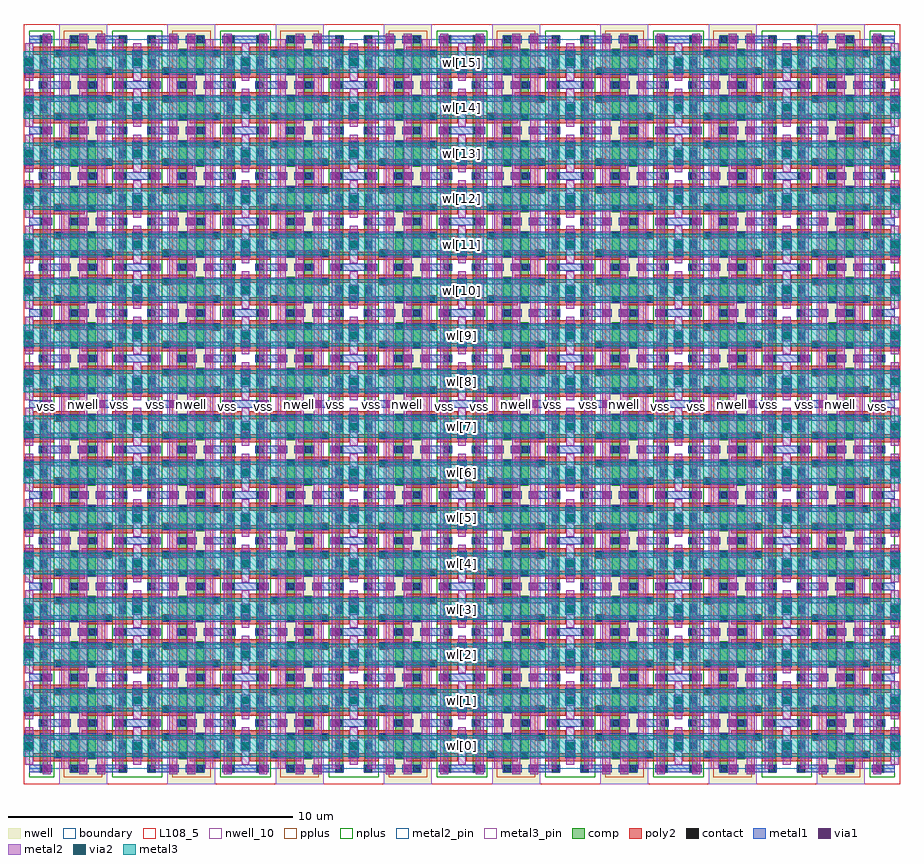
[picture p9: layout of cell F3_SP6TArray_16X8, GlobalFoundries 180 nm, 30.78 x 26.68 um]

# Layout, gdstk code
from math import pi, radians
import gdstk
lib = gdstk.Library(unit=1e-6, precision=1e-09)
def R(c, l, rs):  # rectangles x0, y0, x1, y1
    for r in rs: c.add(gdstk.rectangle(r[:2], r[2:], *l))
def A(c, l, x, y, w, h, nx, ny, dx, dy):  # array of equal rectangles
    R(c, l, [(x+i*dx, y+j*dy, x+i*dx+w, y+j*dy+h) for i in range(nx) for j in range(ny)])
def P(c, l, *ps):  # polygons
    for p in ps: c.add(gdstk.Polygon(p, *l))
boundary = (0, 0)
nwell = (21, 0)
nwell_10 = (21, 10)
comp = (22, 0)
poly2 = (30, 0)
pplus = (31, 0)
nplus = (32, 0)
contact = (33, 0)
metal1 = (34, 0)
via1 = (35, 0)
metal2 = (36, 0)
metal2_pin = (36, 10)
via2 = (38, 0)
metal3 = (42, 0)
metal3_pin = (42, 10)
L108_5 = (108, 5)

f3_sp6tcell = lib.new_cell('F3_SP6TCell')
R(f3_sp6tcell, boundary, [(0,0,3.8,1.6)])
R(f3_sp6tcell, nwell, [(1.055,-0.54,2.745,2.14)])
R(f3_sp6tcell, nwell_10, [(1.055,-0.54,2.745,2.14)])
R(f3_sp6tcell, comp, [(0.375,-0.14,0.655,1.74), (2.065,-0.14,2.345,0.84), (3.145,-0.14,3.425,1.74), (1.455,0.335,1.735,0.615), (2.065,0.54,2.345,0.985), (1.455,0.615,1.735,1.06), (1.455,0.76,1.735,1.74), (2.065,0.985,2.345,1.265)])
P(f3_sp6tcell, poly2, [(0.91,0.975),(0.91,1.06),(0.155,1.06),(0.155,1.34),(1.955,1.34),(1.955,1.06),(1.21,1.06),(1.21,0.975)],
  [(3.65,0.975),(3.65,1.06),(2.925,1.06),(2.925,1.34),(3.95,1.34),(3.95,0.975)],
  [(-0.15,0.26),(-0.15,0.625),(0.15,0.625),(0.15,0.54),(0.875,0.54),(0.875,0.26)],
  [(1.845,0.26),(1.845,0.54),(2.59,0.54),(2.59,0.625),(2.89,0.625),(2.89,0.54),(3.645,0.54),(3.645,0.26)])
R(f3_sp6tcell, pplus, [(1.225,-0.3,2.575,1.9)])
R(f3_sp6tcell, nplus, [(0,-0.3,0.885,1.9), (2.915,-0.3,3.8,1.9)])
A(f3_sp6tcell, contact, 0.405, -0.11, 0.22, 0.22, 1, 3, 0, 0.8)
A(f3_sp6tcell, contact, 3.175, -0.11, 0.22, 0.22, 1, 3, 0, 0.8)
R(f3_sp6tcell, contact, [(2.095,-0.11,2.315,0.11), (-0.11,0.365,0.11,0.585), (1.485,0.365,1.705,0.585), (2.63,0.365,2.85,0.585), (0.95,1.015,1.17,1.235), (2.095,1.015,2.315,1.235), (3.69,1.015,3.91,1.235), (1.485,1.49,1.705,1.71)])
R(f3_sp6tcell, metal1, [(0.345,-0.13,1.46,0.13), (1.71,-0.13,2.375,0.13), (2.98,-0.13,3.8,0.13), (-0.17,0.36,0.17,0.99), (3.63,0.61,3.97,1.24), (0,1.47,0.82,1.73), (1.425,1.47,2.09,1.73), (2.34,1.47,3.455,1.73)])
P(f3_sp6tcell, metal1, [(3.17,0.63),(3.17,1.01),(0.89,1.01),(0.89,1.24),(3.4,1.24),(3.4,0.63)],
  [(0.4,0.36),(0.4,0.97),(0.63,0.97),(0.63,0.59),(2.91,0.59),(2.91,0.36)])
R(f3_sp6tcell, via1, [(1.14,-0.13,1.4,0.13), (1.77,-0.13,2.03,0.13), (3.04,-0.13,3.3,0.13), (-0.13,0.67,0.13,0.93), (3.67,0.67,3.93,0.93), (0.5,1.47,0.76,1.73), (1.77,1.47,2.03,1.73), (2.4,1.47,2.66,1.73)])
R(f3_sp6tcell, metal2, [(1.13,-0.19,1.41,1.6), (1.76,-0.19,2.04,1.79), (3.03,-0.19,3.31,1.6), (0.49,0,0.77,1.79), (2.39,0,2.67,1.79), (-0.14,0.14,0.14,1.46), (3.66,0.14,3.94,1.46)])
R(f3_sp6tcell, metal2_pin, [(1.13,-0.19,1.41,1.6), (1.76,-0.19,2.04,1.79), (3.03,-0.19,3.31,1.6), (0.49,0,0.77,1.79), (2.39,0,2.67,1.79)])
R(f3_sp6tcell, via2, [(-0.13,0.67,0.13,0.93), (3.67,0.67,3.93,0.93)])
R(f3_sp6tcell, metal3, [(-0.19,0.42,3.99,1.18)])
R(f3_sp6tcell, metal3_pin, [(-0.19,0.42,3.99,1.18)])
R(f3_sp6tcell, L108_5, [(-0.19,-0.54,3.99,2.14)])
f3_sp6tcell.add(gdstk.Label('nwell', (1.9,0.8), layer=21, texttype=10))
f3_sp6tcell.add(gdstk.Label('wl', (1.9,0.8), layer=42, texttype=10))
f3_sp6tcell.add(gdstk.Label('bl_n', (2.53,0.895), layer=36, texttype=10))
f3_sp6tcell.add(gdstk.Label('vdd', (1.9,0.8), layer=36, texttype=10))
f3_sp6tcell.add(gdstk.Label('vss', (3.17,0.705), layer=36, texttype=10))
f3_sp6tcell.add(gdstk.Label('vss', (0.63,0.895), layer=36, texttype=10))
f3_sp6tcell.add(gdstk.Label('bl', (1.27,0.705), layer=36, texttype=10))

f3_sp6tarray_2x1 = lib.new_cell('F3_SP6TArray_2X1')
R(f3_sp6tarray_2x1, boundary, [(0,0,3.8,3.2)])
R(f3_sp6tarray_2x1, nwell, [(1.055,-0.54,2.745,3.74)])
R(f3_sp6tarray_2x1, nwell_10, [(1.055,-0.54,2.745,3.74)])
R(f3_sp6tarray_2x1, metal2, [(0.49,-0.19,0.77,3.2), (1.76,-0.19,2.04,3.2), (2.39,-0.19,2.67,3.39), (1.13,0,1.41,3.2), (3.03,0,3.31,3.2)])
R(f3_sp6tarray_2x1, metal2_pin, [(0.49,-0.19,0.77,3.2), (1.76,-0.19,2.04,3.2), (2.39,-0.19,2.67,3.39), (1.13,0,1.41,3.2), (3.03,0,3.31,3.2)])
R(f3_sp6tarray_2x1, metal3, [(-0.19,0.42,3.99,1.18), (-0.19,2.02,3.99,2.78)])
R(f3_sp6tarray_2x1, metal3_pin, [(-0.19,0.42,3.99,1.18), (-0.19,2.02,3.99,2.78)])
f3_sp6tarray_2x1.add(gdstk.Reference(f3_sp6tcell, (0,1.6)))
f3_sp6tarray_2x1.add(gdstk.Reference(f3_sp6tcell, (0,1.6), x_reflection=True))
f3_sp6tarray_2x1.add(gdstk.Label('nwell', (1.9,1.6), layer=21, texttype=10))
f3_sp6tarray_2x1.add(gdstk.Label('wl[1]', (1.9,2.4), layer=42, texttype=10))
f3_sp6tarray_2x1.add(gdstk.Label('wl[0]', (1.9,0.8), layer=42, texttype=10))
f3_sp6tarray_2x1.add(gdstk.Label('bl_n[0]', (2.53,1.6), layer=36, texttype=10))
f3_sp6tarray_2x1.add(gdstk.Label('bl[0]', (1.27,1.6), layer=36, texttype=10))
f3_sp6tarray_2x1.add(gdstk.Label('vdd', (1.9,1.505), layer=36, texttype=10))
f3_sp6tarray_2x1.add(gdstk.Label('vss', (0.63,1.505), layer=36, texttype=10))
f3_sp6tarray_2x1.add(gdstk.Label('vss', (3.17,1.6), layer=36, texttype=10))

f3_sp6tarray_2x2 = lib.new_cell('F3_SP6TArray_2X2')
R(f3_sp6tarray_2x2, boundary, [(0,0,7.6,3.2)])
R(f3_sp6tarray_2x2, nwell, [(1.055,-0.54,2.745,3.74), (4.855,-0.54,6.545,3.74)])
R(f3_sp6tarray_2x2, nwell_10, [(1.055,-0.54,2.745,3.74), (4.855,-0.54,6.545,3.74)])
R(f3_sp6tarray_2x2, metal2, [(0.49,-0.19,0.77,3.2), (1.76,-0.19,2.04,3.2), (2.39,-0.19,2.67,3.39), (4.93,-0.19,5.21,3.39), (5.56,-0.19,5.84,3.2), (6.83,-0.19,7.11,3.2), (1.13,0,1.41,3.2), (3.03,0,3.31,3.2), (4.29,0,4.57,3.2), (6.19,0,6.47,3.2)])
R(f3_sp6tarray_2x2, metal2_pin, [(0.49,-0.19,0.77,3.2), (1.76,-0.19,2.04,3.2), (2.39,-0.19,2.67,3.39), (4.93,-0.19,5.21,3.39), (5.56,-0.19,5.84,3.2), (6.83,-0.19,7.11,3.2), (1.13,0,1.41,3.2), (3.03,0,3.31,3.2), (4.29,0,4.57,3.2), (6.19,0,6.47,3.2)])
R(f3_sp6tarray_2x2, metal3, [(-0.19,0.42,7.79,1.18), (-0.19,2.02,7.79,2.78)])
R(f3_sp6tarray_2x2, metal3_pin, [(-0.19,0.42,7.79,1.18), (-0.19,2.02,7.79,2.78)])
f3_sp6tarray_2x2.add(gdstk.Reference(f3_sp6tarray_2x1, (7.6,0), rotation=pi, x_reflection=True))
f3_sp6tarray_2x2.add(gdstk.Reference(f3_sp6tarray_2x1, (0,0)))
f3_sp6tarray_2x2.add(gdstk.Label('nwell', (1.9,1.6), layer=21, texttype=10))
f3_sp6tarray_2x2.add(gdstk.Label('nwell', (5.7,1.6), layer=21, texttype=10))
f3_sp6tarray_2x2.add(gdstk.Label('wl[1]', (3.8,2.4), layer=42, texttype=10))
f3_sp6tarray_2x2.add(gdstk.Label('wl[0]', (3.8,0.8), layer=42, texttype=10))
f3_sp6tarray_2x2.add(gdstk.Label('bl_n[1]', (5.07,1.6), layer=36, texttype=10))
f3_sp6tarray_2x2.add(gdstk.Label('bl[1]', (6.33,1.6), layer=36, texttype=10))
f3_sp6tarray_2x2.add(gdstk.Label('bl_n[0]', (2.53,1.6), layer=36, texttype=10))
f3_sp6tarray_2x2.add(gdstk.Label('bl[0]', (1.27,1.6), layer=36, texttype=10))
f3_sp6tarray_2x2.add(gdstk.Label('vdd', (1.9,1.505), layer=36, texttype=10))
f3_sp6tarray_2x2.add(gdstk.Label('vdd', (5.7,1.505), layer=36, texttype=10))
f3_sp6tarray_2x2.add(gdstk.Label('vss', (0.63,1.505), layer=36, texttype=10))
f3_sp6tarray_2x2.add(gdstk.Label('vss', (6.97,1.505), layer=36, texttype=10))
f3_sp6tarray_2x2.add(gdstk.Label('vss', (3.17,1.6), layer=36, texttype=10))
f3_sp6tarray_2x2.add(gdstk.Label('vss', (4.43,1.6), layer=36, texttype=10))

f3_sp6tarray_4x2 = lib.new_cell('F3_SP6TArray_4X2')
R(f3_sp6tarray_4x2, boundary, [(0,0,7.6,6.4)])
R(f3_sp6tarray_4x2, nwell, [(1.055,-0.54,2.745,6.94), (4.855,-0.54,6.545,6.94)])
R(f3_sp6tarray_4x2, nwell_10, [(1.055,-0.54,2.745,6.94), (4.855,-0.54,6.545,6.94)])
R(f3_sp6tarray_4x2, metal2, [(0.49,-0.19,0.77,6.4), (1.76,-0.19,2.04,6.4), (2.39,-0.19,2.67,6.59), (4.93,-0.19,5.21,6.59), (5.56,-0.19,5.84,6.4), (6.83,-0.19,7.11,6.4), (1.13,0,1.41,6.4), (3.03,0,3.31,6.4), (4.29,0,4.57,6.4), (6.19,0,6.47,6.4)])
R(f3_sp6tarray_4x2, metal2_pin, [(0.49,-0.19,0.77,6.4), (1.76,-0.19,2.04,6.4), (2.39,-0.19,2.67,6.59), (4.93,-0.19,5.21,6.59), (5.56,-0.19,5.84,6.4), (6.83,-0.19,7.11,6.4), (1.13,0,1.41,6.4), (3.03,0,3.31,6.4), (4.29,0,4.57,6.4), (6.19,0,6.47,6.4)])
A(f3_sp6tarray_4x2, metal3, -0.19, 0.42, 7.98, 0.76, 1, 4, 0, 1.6)
A(f3_sp6tarray_4x2, metal3_pin, -0.19, 0.42, 7.98, 0.76, 1, 4, 0, 1.6)
f3_sp6tarray_4x2.add(gdstk.Reference(f3_sp6tarray_2x2, (0,0)))
f3_sp6tarray_4x2.add(gdstk.Reference(f3_sp6tarray_2x2, (0,3.2)))
f3_sp6tarray_4x2.add(gdstk.Label('nwell', (1.9,3.2), layer=21, texttype=10))
f3_sp6tarray_4x2.add(gdstk.Label('nwell', (5.7,3.2), layer=21, texttype=10))
f3_sp6tarray_4x2.add(gdstk.Label('wl[3]', (3.8,5.6), layer=42, texttype=10))
f3_sp6tarray_4x2.add(gdstk.Label('wl[2]', (3.8,4), layer=42, texttype=10))
f3_sp6tarray_4x2.add(gdstk.Label('wl[1]', (3.8,2.4), layer=42, texttype=10))
f3_sp6tarray_4x2.add(gdstk.Label('wl[0]', (3.8,0.8), layer=42, texttype=10))
f3_sp6tarray_4x2.add(gdstk.Label('bl_n[1]', (5.07,3.2), layer=36, texttype=10))
f3_sp6tarray_4x2.add(gdstk.Label('bl[1]', (6.33,3.2), layer=36, texttype=10))
f3_sp6tarray_4x2.add(gdstk.Label('bl_n[0]', (2.53,3.2), layer=36, texttype=10))
f3_sp6tarray_4x2.add(gdstk.Label('bl[0]', (1.27,3.2), layer=36, texttype=10))
f3_sp6tarray_4x2.add(gdstk.Label('vdd', (1.9,3.105), layer=36, texttype=10))
f3_sp6tarray_4x2.add(gdstk.Label('vdd', (5.7,3.105), layer=36, texttype=10))
f3_sp6tarray_4x2.add(gdstk.Label('vss', (0.63,3.105), layer=36, texttype=10))
f3_sp6tarray_4x2.add(gdstk.Label('vss', (6.97,3.105), layer=36, texttype=10))
f3_sp6tarray_4x2.add(gdstk.Label('vss', (3.17,3.2), layer=36, texttype=10))
f3_sp6tarray_4x2.add(gdstk.Label('vss', (4.43,3.2), layer=36, texttype=10))

f3_sp6tarray_4x4 = lib.new_cell('F3_SP6TArray_4X4')
R(f3_sp6tarray_4x4, boundary, [(0,0,15.2,6.4)])
A(f3_sp6tarray_4x4, nwell, 1.055, -0.54, 1.69, 7.48, 4, 1, 3.8, 0)
A(f3_sp6tarray_4x4, nwell_10, 1.055, -0.54, 1.69, 7.48, 4, 1, 3.8, 0)
R(f3_sp6tarray_4x4, metal2, [(0.49,-0.19,0.77,6.4), (1.76,-0.19,2.04,6.4), (2.39,-0.19,2.67,6.59), (4.93,-0.19,5.21,6.59), (5.56,-0.19,5.84,6.4), (6.83,-0.19,7.11,6.4), (8.09,-0.19,8.37,6.4), (9.36,-0.19,9.64,6.4), (9.99,-0.19,10.27,6.59), (12.53,-0.19,12.81,6.59), (13.16,-0.19,13.44,6.4), (14.43,-0.19,14.71,6.4), (1.13,0,1.41,6.4), (3.03,0,3.31,6.4), (4.29,0,4.57,6.4), (6.19,0,6.47,6.4), (8.73,0,9.01,6.4), (10.63,0,10.91,6.4), (11.89,0,12.17,6.4), (13.79,0,14.07,6.4)])
R(f3_sp6tarray_4x4, metal2_pin, [(0.49,-0.19,0.77,6.4), (1.76,-0.19,2.04,6.4), (2.39,-0.19,2.67,6.59), (4.93,-0.19,5.21,6.59), (5.56,-0.19,5.84,6.4), (6.83,-0.19,7.11,6.4), (8.09,-0.19,8.37,6.4), (9.36,-0.19,9.64,6.4), (9.99,-0.19,10.27,6.59), (12.53,-0.19,12.81,6.59), (13.16,-0.19,13.44,6.4), (14.43,-0.19,14.71,6.4), (1.13,0,1.41,6.4), (3.03,0,3.31,6.4), (4.29,0,4.57,6.4), (6.19,0,6.47,6.4), (8.73,0,9.01,6.4), (10.63,0,10.91,6.4), (11.89,0,12.17,6.4), (13.79,0,14.07,6.4)])
A(f3_sp6tarray_4x4, metal3, -0.19, 0.42, 15.58, 0.76, 1, 4, 0, 1.6)
A(f3_sp6tarray_4x4, metal3_pin, -0.19, 0.42, 15.58, 0.76, 1, 4, 0, 1.6)
f3_sp6tarray_4x4.add(gdstk.Reference(f3_sp6tarray_4x2, (0,0)))
f3_sp6tarray_4x4.add(gdstk.Reference(f3_sp6tarray_4x2, (7.6,0)))
f3_sp6tarray_4x4.add(gdstk.Label('nwell', (1.9,3.2), layer=21, texttype=10))
f3_sp6tarray_4x4.add(gdstk.Label('nwell', (5.7,3.2), layer=21, texttype=10))
f3_sp6tarray_4x4.add(gdstk.Label('nwell', (9.5,3.2), layer=21, texttype=10))
f3_sp6tarray_4x4.add(gdstk.Label('nwell', (13.3,3.2), layer=21, texttype=10))
f3_sp6tarray_4x4.add(gdstk.Label('wl[3]', (7.6,5.6), layer=42, texttype=10))
f3_sp6tarray_4x4.add(gdstk.Label('wl[2]', (7.6,4), layer=42, texttype=10))
f3_sp6tarray_4x4.add(gdstk.Label('wl[1]', (7.6,2.4), layer=42, texttype=10))
f3_sp6tarray_4x4.add(gdstk.Label('wl[0]', (7.6,0.8), layer=42, texttype=10))
f3_sp6tarray_4x4.add(gdstk.Label('bl_n[3]', (12.67,3.2), layer=36, texttype=10))
f3_sp6tarray_4x4.add(gdstk.Label('bl[3]', (13.93,3.2), layer=36, texttype=10))
f3_sp6tarray_4x4.add(gdstk.Label('bl_n[2]', (10.13,3.2), layer=36, texttype=10))
f3_sp6tarray_4x4.add(gdstk.Label('bl[2]', (8.87,3.2), layer=36, texttype=10))
f3_sp6tarray_4x4.add(gdstk.Label('bl_n[1]', (5.07,3.2), layer=36, texttype=10))
f3_sp6tarray_4x4.add(gdstk.Label('bl[1]', (6.33,3.2), layer=36, texttype=10))
f3_sp6tarray_4x4.add(gdstk.Label('bl_n[0]', (2.53,3.2), layer=36, texttype=10))
f3_sp6tarray_4x4.add(gdstk.Label('bl[0]', (1.27,3.2), layer=36, texttype=10))
f3_sp6tarray_4x4.add(gdstk.Label('vdd', (1.9,3.105), layer=36, texttype=10))
f3_sp6tarray_4x4.add(gdstk.Label('vdd', (5.7,3.105), layer=36, texttype=10))
f3_sp6tarray_4x4.add(gdstk.Label('vdd', (9.5,3.105), layer=36, texttype=10))
f3_sp6tarray_4x4.add(gdstk.Label('vdd', (13.3,3.105), layer=36, texttype=10))
f3_sp6tarray_4x4.add(gdstk.Label('vss', (0.63,3.105), layer=36, texttype=10))
f3_sp6tarray_4x4.add(gdstk.Label('vss', (6.97,3.105), layer=36, texttype=10))
f3_sp6tarray_4x4.add(gdstk.Label('vss', (8.23,3.105), layer=36, texttype=10))
f3_sp6tarray_4x4.add(gdstk.Label('vss', (14.57,3.105), layer=36, texttype=10))
f3_sp6tarray_4x4.add(gdstk.Label('vss', (3.17,3.2), layer=36, texttype=10))
f3_sp6tarray_4x4.add(gdstk.Label('vss', (4.43,3.2), layer=36, texttype=10))
f3_sp6tarray_4x4.add(gdstk.Label('vss', (10.77,3.2), layer=36, texttype=10))
f3_sp6tarray_4x4.add(gdstk.Label('vss', (12.03,3.2), layer=36, texttype=10))

f3_sp6tarray_8x4 = lib.new_cell('F3_SP6TArray_8X4')
R(f3_sp6tarray_8x4, boundary, [(0,0,15.2,12.8)])
A(f3_sp6tarray_8x4, nwell, 1.055, -0.54, 1.69, 13.88, 4, 1, 3.8, 0)
A(f3_sp6tarray_8x4, nwell_10, 1.055, -0.54, 1.69, 13.88, 4, 1, 3.8, 0)
R(f3_sp6tarray_8x4, metal2, [(0.49,-0.19,0.77,12.8), (1.76,-0.19,2.04,12.8), (2.39,-0.19,2.67,12.99), (4.93,-0.19,5.21,12.99), (5.56,-0.19,5.84,12.8), (6.83,-0.19,7.11,12.8), (8.09,-0.19,8.37,12.8), (9.36,-0.19,9.64,12.8), (9.99,-0.19,10.27,12.99), (12.53,-0.19,12.81,12.99), (13.16,-0.19,13.44,12.8), (14.43,-0.19,14.71,12.8), (1.13,0,1.41,12.8), (3.03,0,3.31,12.8), (4.29,0,4.57,12.8), (6.19,0,6.47,12.8), (8.73,0,9.01,12.8), (10.63,0,10.91,12.8), (11.89,0,12.17,12.8), (13.79,0,14.07,12.8)])
R(f3_sp6tarray_8x4, metal2_pin, [(0.49,-0.19,0.77,12.8), (1.76,-0.19,2.04,12.8), (2.39,-0.19,2.67,12.99), (4.93,-0.19,5.21,12.99), (5.56,-0.19,5.84,12.8), (6.83,-0.19,7.11,12.8), (8.09,-0.19,8.37,12.8), (9.36,-0.19,9.64,12.8), (9.99,-0.19,10.27,12.99), (12.53,-0.19,12.81,12.99), (13.16,-0.19,13.44,12.8), (14.43,-0.19,14.71,12.8), (1.13,0,1.41,12.8), (3.03,0,3.31,12.8), (4.29,0,4.57,12.8), (6.19,0,6.47,12.8), (8.73,0,9.01,12.8), (10.63,0,10.91,12.8), (11.89,0,12.17,12.8), (13.79,0,14.07,12.8)])
A(f3_sp6tarray_8x4, metal3, -0.19, 0.42, 15.58, 0.76, 1, 8, 0, 1.6)
A(f3_sp6tarray_8x4, metal3_pin, -0.19, 0.42, 15.58, 0.76, 1, 8, 0, 1.6)
f3_sp6tarray_8x4.add(gdstk.Reference(f3_sp6tarray_4x4, (0,0)))
f3_sp6tarray_8x4.add(gdstk.Reference(f3_sp6tarray_4x4, (0,6.4)))
f3_sp6tarray_8x4.add(gdstk.Label('nwell', (1.9,6.4), layer=21, texttype=10))
f3_sp6tarray_8x4.add(gdstk.Label('nwell', (5.7,6.4), layer=21, texttype=10))
f3_sp6tarray_8x4.add(gdstk.Label('nwell', (9.5,6.4), layer=21, texttype=10))
f3_sp6tarray_8x4.add(gdstk.Label('nwell', (13.3,6.4), layer=21, texttype=10))
f3_sp6tarray_8x4.add(gdstk.Label('wl[5]', (7.6,8.8), layer=42, texttype=10))
f3_sp6tarray_8x4.add(gdstk.Label('wl[4]', (7.6,7.2), layer=42, texttype=10))
f3_sp6tarray_8x4.add(gdstk.Label('wl[3]', (7.6,5.6), layer=42, texttype=10))
f3_sp6tarray_8x4.add(gdstk.Label('wl[6]', (7.6,10.4), layer=42, texttype=10))
f3_sp6tarray_8x4.add(gdstk.Label('wl[2]', (7.6,4), layer=42, texttype=10))
f3_sp6tarray_8x4.add(gdstk.Label('wl[7]', (7.6,12), layer=42, texttype=10))
f3_sp6tarray_8x4.add(gdstk.Label('wl[1]', (7.6,2.4), layer=42, texttype=10))
f3_sp6tarray_8x4.add(gdstk.Label('wl[0]', (7.6,0.8), layer=42, texttype=10))
f3_sp6tarray_8x4.add(gdstk.Label('bl_n[3]', (12.67,6.4), layer=36, texttype=10))
f3_sp6tarray_8x4.add(gdstk.Label('bl[3]', (13.93,6.4), layer=36, texttype=10))
f3_sp6tarray_8x4.add(gdstk.Label('bl_n[2]', (10.13,6.4), layer=36, texttype=10))
f3_sp6tarray_8x4.add(gdstk.Label('bl[2]', (8.87,6.4), layer=36, texttype=10))
f3_sp6tarray_8x4.add(gdstk.Label('bl_n[1]', (5.07,6.4), layer=36, texttype=10))
f3_sp6tarray_8x4.add(gdstk.Label('bl[1]', (6.33,6.4), layer=36, texttype=10))
f3_sp6tarray_8x4.add(gdstk.Label('bl_n[0]', (2.53,6.4), layer=36, texttype=10))
f3_sp6tarray_8x4.add(gdstk.Label('bl[0]', (1.27,6.4), layer=36, texttype=10))
f3_sp6tarray_8x4.add(gdstk.Label('vdd', (1.9,6.305), layer=36, texttype=10))
f3_sp6tarray_8x4.add(gdstk.Label('vdd', (5.7,6.305), layer=36, texttype=10))
f3_sp6tarray_8x4.add(gdstk.Label('vdd', (9.5,6.305), layer=36, texttype=10))
f3_sp6tarray_8x4.add(gdstk.Label('vdd', (13.3,6.305), layer=36, texttype=10))
f3_sp6tarray_8x4.add(gdstk.Label('vss', (0.63,6.305), layer=36, texttype=10))
f3_sp6tarray_8x4.add(gdstk.Label('vss', (6.97,6.305), layer=36, texttype=10))
f3_sp6tarray_8x4.add(gdstk.Label('vss', (8.23,6.305), layer=36, texttype=10))
f3_sp6tarray_8x4.add(gdstk.Label('vss', (14.57,6.305), layer=36, texttype=10))
f3_sp6tarray_8x4.add(gdstk.Label('vss', (3.17,6.4), layer=36, texttype=10))
f3_sp6tarray_8x4.add(gdstk.Label('vss', (4.43,6.4), layer=36, texttype=10))
f3_sp6tarray_8x4.add(gdstk.Label('vss', (10.77,6.4), layer=36, texttype=10))
f3_sp6tarray_8x4.add(gdstk.Label('vss', (12.03,6.4), layer=36, texttype=10))

f3_sp6tarray_8x8 = lib.new_cell('F3_SP6TArray_8X8')
R(f3_sp6tarray_8x8, boundary, [(0,0,30.4,12.8)])
A(f3_sp6tarray_8x8, nwell, 1.055, -0.54, 1.69, 13.88, 8, 1, 3.8, 0)
A(f3_sp6tarray_8x8, nwell_10, 1.055, -0.54, 1.69, 13.88, 8, 1, 3.8, 0)
R(f3_sp6tarray_8x8, metal2, [(0.49,-0.19,0.77,12.8), (1.76,-0.19,2.04,12.8), (2.39,-0.19,2.67,12.99), (4.93,-0.19,5.21,12.99), (5.56,-0.19,5.84,12.8), (6.83,-0.19,7.11,12.8), (8.09,-0.19,8.37,12.8), (9.36,-0.19,9.64,12.8), (9.99,-0.19,10.27,12.99), (12.53,-0.19,12.81,12.99), (13.16,-0.19,13.44,12.8), (14.43,-0.19,14.71,12.8), (15.69,-0.19,15.97,12.8), (16.96,-0.19,17.24,12.8), (17.59,-0.19,17.87,12.99), (20.13,-0.19,20.41,12.99), (20.76,-0.19,21.04,12.8), (22.03,-0.19,22.31,12.8), (23.29,-0.19,23.57,12.8), (24.56,-0.19,24.84,12.8), (25.19,-0.19,25.47,12.99), (27.73,-0.19,28.01,12.99), (28.36,-0.19,28.64,12.8), (29.63,-0.19,29.91,12.8), (1.13,0,1.41,12.8), (3.03,0,3.31,12.8), (4.29,0,4.57,12.8), (6.19,0,6.47,12.8), (8.73,0,9.01,12.8), (10.63,0,10.91,12.8), (11.89,0,12.17,12.8), (13.79,0,14.07,12.8), (16.33,0,16.61,12.8), (18.23,0,18.51,12.8), (19.49,0,19.77,12.8), (21.39,0,21.67,12.8), (23.93,0,24.21,12.8), (25.83,0,26.11,12.8), (27.09,0,27.37,12.8), (28.99,0,29.27,12.8)])
R(f3_sp6tarray_8x8, metal2_pin, [(0.49,-0.19,0.77,12.8), (1.76,-0.19,2.04,12.8), (2.39,-0.19,2.67,12.99), (4.93,-0.19,5.21,12.99), (5.56,-0.19,5.84,12.8), (6.83,-0.19,7.11,12.8), (8.09,-0.19,8.37,12.8), (9.36,-0.19,9.64,12.8), (9.99,-0.19,10.27,12.99), (12.53,-0.19,12.81,12.99), (13.16,-0.19,13.44,12.8), (14.43,-0.19,14.71,12.8), (15.69,-0.19,15.97,12.8), (16.96,-0.19,17.24,12.8), (17.59,-0.19,17.87,12.99), (20.13,-0.19,20.41,12.99), (20.76,-0.19,21.04,12.8), (22.03,-0.19,22.31,12.8), (23.29,-0.19,23.57,12.8), (24.56,-0.19,24.84,12.8), (25.19,-0.19,25.47,12.99), (27.73,-0.19,28.01,12.99), (28.36,-0.19,28.64,12.8), (29.63,-0.19,29.91,12.8), (1.13,0,1.41,12.8), (3.03,0,3.31,12.8), (4.29,0,4.57,12.8), (6.19,0,6.47,12.8), (8.73,0,9.01,12.8), (10.63,0,10.91,12.8), (11.89,0,12.17,12.8), (13.79,0,14.07,12.8), (16.33,0,16.61,12.8), (18.23,0,18.51,12.8), (19.49,0,19.77,12.8), (21.39,0,21.67,12.8), (23.93,0,24.21,12.8), (25.83,0,26.11,12.8), (27.09,0,27.37,12.8), (28.99,0,29.27,12.8)])
A(f3_sp6tarray_8x8, metal3, -0.19, 0.42, 30.78, 0.76, 1, 8, 0, 1.6)
A(f3_sp6tarray_8x8, metal3_pin, -0.19, 0.42, 30.78, 0.76, 1, 8, 0, 1.6)
f3_sp6tarray_8x8.add(gdstk.Reference(f3_sp6tarray_8x4, (0,0)))
f3_sp6tarray_8x8.add(gdstk.Reference(f3_sp6tarray_8x4, (15.2,0)))
f3_sp6tarray_8x8.add(gdstk.Label('nwell', (1.9,6.4), layer=21, texttype=10))
f3_sp6tarray_8x8.add(gdstk.Label('nwell', (5.7,6.4), layer=21, texttype=10))
f3_sp6tarray_8x8.add(gdstk.Label('nwell', (9.5,6.4), layer=21, texttype=10))
f3_sp6tarray_8x8.add(gdstk.Label('nwell', (13.3,6.4), layer=21, texttype=10))
f3_sp6tarray_8x8.add(gdstk.Label('nwell', (17.1,6.4), layer=21, texttype=10))
f3_sp6tarray_8x8.add(gdstk.Label('nwell', (20.9,6.4), layer=21, texttype=10))
f3_sp6tarray_8x8.add(gdstk.Label('nwell', (24.7,6.4), layer=21, texttype=10))
f3_sp6tarray_8x8.add(gdstk.Label('nwell', (28.5,6.4), layer=21, texttype=10))
f3_sp6tarray_8x8.add(gdstk.Label('wl[5]', (15.2,8.8), layer=42, texttype=10))
f3_sp6tarray_8x8.add(gdstk.Label('wl[4]', (15.2,7.2), layer=42, texttype=10))
f3_sp6tarray_8x8.add(gdstk.Label('wl[3]', (15.2,5.6), layer=42, texttype=10))
f3_sp6tarray_8x8.add(gdstk.Label('wl[6]', (15.2,10.4), layer=42, texttype=10))
f3_sp6tarray_8x8.add(gdstk.Label('wl[2]', (15.2,4), layer=42, texttype=10))
f3_sp6tarray_8x8.add(gdstk.Label('wl[7]', (15.2,12), layer=42, texttype=10))
f3_sp6tarray_8x8.add(gdstk.Label('wl[1]', (15.2,2.4), layer=42, texttype=10))
f3_sp6tarray_8x8.add(gdstk.Label('wl[0]', (15.2,0.8), layer=42, texttype=10))
f3_sp6tarray_8x8.add(gdstk.Label('bl_n[7]', (27.87,6.4), layer=36, texttype=10))
f3_sp6tarray_8x8.add(gdstk.Label('bl_n[6]', (25.33,6.4), layer=36, texttype=10))
f3_sp6tarray_8x8.add(gdstk.Label('bl[6]', (24.07,6.4), layer=36, texttype=10))
f3_sp6tarray_8x8.add(gdstk.Label('bl_n[5]', (20.27,6.4), layer=36, texttype=10))
f3_sp6tarray_8x8.add(gdstk.Label('bl[7]', (29.13,6.4), layer=36, texttype=10))
f3_sp6tarray_8x8.add(gdstk.Label('vss', (0.63,6.305), layer=36, texttype=10))
f3_sp6tarray_8x8.add(gdstk.Label('vss', (8.23,6.305), layer=36, texttype=10))
f3_sp6tarray_8x8.add(gdstk.Label('vss', (15.83,6.305), layer=36, texttype=10))
f3_sp6tarray_8x8.add(gdstk.Label('vss', (23.43,6.305), layer=36, texttype=10))
f3_sp6tarray_8x8.add(gdstk.Label('vss', (6.97,6.305), layer=36, texttype=10))
f3_sp6tarray_8x8.add(gdstk.Label('vss', (14.57,6.305), layer=36, texttype=10))
f3_sp6tarray_8x8.add(gdstk.Label('vss', (22.17,6.305), layer=36, texttype=10))
f3_sp6tarray_8x8.add(gdstk.Label('vss', (29.77,6.305), layer=36, texttype=10))
f3_sp6tarray_8x8.add(gdstk.Label('vss', (3.17,6.4), layer=36, texttype=10))
f3_sp6tarray_8x8.add(gdstk.Label('vss', (10.77,6.4), layer=36, texttype=10))
f3_sp6tarray_8x8.add(gdstk.Label('vss', (18.37,6.4), layer=36, texttype=10))
f3_sp6tarray_8x8.add(gdstk.Label('vss', (25.97,6.4), layer=36, texttype=10))
f3_sp6tarray_8x8.add(gdstk.Label('vss', (4.43,6.4), layer=36, texttype=10))
f3_sp6tarray_8x8.add(gdstk.Label('vss', (12.03,6.4), layer=36, texttype=10))
f3_sp6tarray_8x8.add(gdstk.Label('vss', (19.63,6.4), layer=36, texttype=10))
f3_sp6tarray_8x8.add(gdstk.Label('vss', (27.23,6.4), layer=36, texttype=10))
f3_sp6tarray_8x8.add(gdstk.Label('vdd', (1.9,6.305), layer=36, texttype=10))
f3_sp6tarray_8x8.add(gdstk.Label('vdd', (5.7,6.305), layer=36, texttype=10))
f3_sp6tarray_8x8.add(gdstk.Label('vdd', (9.5,6.305), layer=36, texttype=10))
f3_sp6tarray_8x8.add(gdstk.Label('vdd', (13.3,6.305), layer=36, texttype=10))
f3_sp6tarray_8x8.add(gdstk.Label('vdd', (17.1,6.305), layer=36, texttype=10))
f3_sp6tarray_8x8.add(gdstk.Label('vdd', (20.9,6.305), layer=36, texttype=10))
f3_sp6tarray_8x8.add(gdstk.Label('vdd', (24.7,6.305), layer=36, texttype=10))
f3_sp6tarray_8x8.add(gdstk.Label('vdd', (28.5,6.305), layer=36, texttype=10))
f3_sp6tarray_8x8.add(gdstk.Label('bl_n[4]', (17.73,6.4), layer=36, texttype=10))
f3_sp6tarray_8x8.add(gdstk.Label('bl[0]', (1.27,6.4), layer=36, texttype=10))
f3_sp6tarray_8x8.add(gdstk.Label('bl[5]', (21.53,6.4), layer=36, texttype=10))
f3_sp6tarray_8x8.add(gdstk.Label('bl_n[1]', (5.07,6.4), layer=36, texttype=10))
f3_sp6tarray_8x8.add(gdstk.Label('bl[2]', (8.87,6.4), layer=36, texttype=10))
f3_sp6tarray_8x8.add(gdstk.Label('bl_n[2]', (10.13,6.4), layer=36, texttype=10))
f3_sp6tarray_8x8.add(gdstk.Label('bl_n[0]', (2.53,6.4), layer=36, texttype=10))
f3_sp6tarray_8x8.add(gdstk.Label('bl[3]', (13.93,6.4), layer=36, texttype=10))
f3_sp6tarray_8x8.add(gdstk.Label('bl[1]', (6.33,6.4), layer=36, texttype=10))
f3_sp6tarray_8x8.add(gdstk.Label('bl[4]', (16.47,6.4), layer=36, texttype=10))
f3_sp6tarray_8x8.add(gdstk.Label('bl_n[3]', (12.67,6.4), layer=36, texttype=10))

f3_sp6tarray_16x8 = lib.new_cell('F3_SP6TArray_16X8')
R(f3_sp6tarray_16x8, boundary, [(0,0,30.4,25.6)])
A(f3_sp6tarray_16x8, nwell, 1.055, -0.54, 1.69, 26.68, 8, 1, 3.8, 0)
A(f3_sp6tarray_16x8, nwell_10, 1.055, -0.54, 1.69, 26.68, 8, 1, 3.8, 0)
R(f3_sp6tarray_16x8, metal2, [(0.49,-0.19,0.77,25.6), (1.76,-0.19,2.04,25.6), (2.39,-0.19,2.67,25.79), (4.93,-0.19,5.21,25.79), (5.56,-0.19,5.84,25.6), (6.83,-0.19,7.11,25.6), (8.09,-0.19,8.37,25.6), (9.36,-0.19,9.64,25.6), (9.99,-0.19,10.27,25.79), (12.53,-0.19,12.81,25.79), (13.16,-0.19,13.44,25.6), (14.43,-0.19,14.71,25.6), (15.69,-0.19,15.97,25.6), (16.96,-0.19,17.24,25.6), (17.59,-0.19,17.87,25.79), (20.13,-0.19,20.41,25.79), (20.76,-0.19,21.04,25.6), (22.03,-0.19,22.31,25.6), (23.29,-0.19,23.57,25.6), (24.56,-0.19,24.84,25.6), (25.19,-0.19,25.47,25.79), (27.73,-0.19,28.01,25.79), (28.36,-0.19,28.64,25.6), (29.63,-0.19,29.91,25.6), (1.13,0,1.41,25.6), (3.03,0,3.31,25.6), (4.29,0,4.57,25.6), (6.19,0,6.47,25.6), (8.73,0,9.01,25.6), (10.63,0,10.91,25.6), (11.89,0,12.17,25.6), (13.79,0,14.07,25.6), (16.33,0,16.61,25.6), (18.23,0,18.51,25.6), (19.49,0,19.77,25.6), (21.39,0,21.67,25.6), (23.93,0,24.21,25.6), (25.83,0,26.11,25.6), (27.09,0,27.37,25.6), (28.99,0,29.27,25.6)])
R(f3_sp6tarray_16x8, metal2_pin, [(0.49,-0.19,0.77,25.6), (1.76,-0.19,2.04,25.6), (2.39,-0.19,2.67,25.79), (4.93,-0.19,5.21,25.79), (5.56,-0.19,5.84,25.6), (6.83,-0.19,7.11,25.6), (8.09,-0.19,8.37,25.6), (9.36,-0.19,9.64,25.6), (9.99,-0.19,10.27,25.79), (12.53,-0.19,12.81,25.79), (13.16,-0.19,13.44,25.6), (14.43,-0.19,14.71,25.6), (15.69,-0.19,15.97,25.6), (16.96,-0.19,17.24,25.6), (17.59,-0.19,17.87,25.79), (20.13,-0.19,20.41,25.79), (20.76,-0.19,21.04,25.6), (22.03,-0.19,22.31,25.6), (23.29,-0.19,23.57,25.6), (24.56,-0.19,24.84,25.6), (25.19,-0.19,25.47,25.79), (27.73,-0.19,28.01,25.79), (28.36,-0.19,28.64,25.6), (29.63,-0.19,29.91,25.6), (1.13,0,1.41,25.6), (3.03,0,3.31,25.6), (4.29,0,4.57,25.6), (6.19,0,6.47,25.6), (8.73,0,9.01,25.6), (10.63,0,10.91,25.6), (11.89,0,12.17,25.6), (13.79,0,14.07,25.6), (16.33,0,16.61,25.6), (18.23,0,18.51,25.6), (19.49,0,19.77,25.6), (21.39,0,21.67,25.6), (23.93,0,24.21,25.6), (25.83,0,26.11,25.6), (27.09,0,27.37,25.6), (28.99,0,29.27,25.6)])
A(f3_sp6tarray_16x8, metal3, -0.19, 0.42, 30.78, 0.76, 1, 16, 0, 1.6)
A(f3_sp6tarray_16x8, metal3_pin, -0.19, 0.42, 30.78, 0.76, 1, 16, 0, 1.6)
f3_sp6tarray_16x8.add(gdstk.Reference(f3_sp6tarray_8x8, (0,0)))
f3_sp6tarray_16x8.add(gdstk.Reference(f3_sp6tarray_8x8, (0,12.8)))
f3_sp6tarray_16x8.add(gdstk.Label('nwell', (1.9,12.8), layer=21, texttype=10))
f3_sp6tarray_16x8.add(gdstk.Label('nwell', (5.7,12.8), layer=21, texttype=10))
f3_sp6tarray_16x8.add(gdstk.Label('nwell', (9.5,12.8), layer=21, texttype=10))
f3_sp6tarray_16x8.add(gdstk.Label('nwell', (13.3,12.8), layer=21, texttype=10))
f3_sp6tarray_16x8.add(gdstk.Label('nwell', (17.1,12.8), layer=21, texttype=10))
f3_sp6tarray_16x8.add(gdstk.Label('nwell', (20.9,12.8), layer=21, texttype=10))
f3_sp6tarray_16x8.add(gdstk.Label('nwell', (24.7,12.8), layer=21, texttype=10))
f3_sp6tarray_16x8.add(gdstk.Label('nwell', (28.5,12.8), layer=21, texttype=10))
f3_sp6tarray_16x8.add(gdstk.Label('wl[15]', (15.2,24.8), layer=42, texttype=10))
f3_sp6tarray_16x8.add(gdstk.Label('wl[13]', (15.2,21.6), layer=42, texttype=10))
f3_sp6tarray_16x8.add(gdstk.Label('wl[0]', (15.2,0.8), layer=42, texttype=10))
f3_sp6tarray_16x8.add(gdstk.Label('wl[1]', (15.2,2.4), layer=42, texttype=10))
f3_sp6tarray_16x8.add(gdstk.Label('wl[7]', (15.2,12), layer=42, texttype=10))
f3_sp6tarray_16x8.add(gdstk.Label('wl[2]', (15.2,4), layer=42, texttype=10))
f3_sp6tarray_16x8.add(gdstk.Label('wl[3]', (15.2,5.6), layer=42, texttype=10))
f3_sp6tarray_16x8.add(gdstk.Label('wl[4]', (15.2,7.2), layer=42, texttype=10))
f3_sp6tarray_16x8.add(gdstk.Label('wl[9]', (15.2,15.2), layer=42, texttype=10))
f3_sp6tarray_16x8.add(gdstk.Label('wl[6]', (15.2,10.4), layer=42, texttype=10))
f3_sp6tarray_16x8.add(gdstk.Label('wl[10]', (15.2,16.8), layer=42, texttype=10))
f3_sp6tarray_16x8.add(gdstk.Label('wl[5]', (15.2,8.8), layer=42, texttype=10))
f3_sp6tarray_16x8.add(gdstk.Label('wl[8]', (15.2,13.6), layer=42, texttype=10))
f3_sp6tarray_16x8.add(gdstk.Label('wl[11]', (15.2,18.4), layer=42, texttype=10))
f3_sp6tarray_16x8.add(gdstk.Label('wl[14]', (15.2,23.2), layer=42, texttype=10))
f3_sp6tarray_16x8.add(gdstk.Label('wl[12]', (15.2,20), layer=42, texttype=10))
f3_sp6tarray_16x8.add(gdstk.Label('bl_n[7]', (27.87,12.8), layer=36, texttype=10))
f3_sp6tarray_16x8.add(gdstk.Label('bl_n[6]', (25.33,12.8), layer=36, texttype=10))
f3_sp6tarray_16x8.add(gdstk.Label('bl[6]', (24.07,12.8), layer=36, texttype=10))
f3_sp6tarray_16x8.add(gdstk.Label('bl_n[5]', (20.27,12.8), layer=36, texttype=10))
f3_sp6tarray_16x8.add(gdstk.Label('bl[7]', (29.13,12.8), layer=36, texttype=10))
f3_sp6tarray_16x8.add(gdstk.Label('vss', (0.63,12.705), layer=36, texttype=10))
f3_sp6tarray_16x8.add(gdstk.Label('vss', (8.23,12.705), layer=36, texttype=10))
f3_sp6tarray_16x8.add(gdstk.Label('vss', (15.83,12.705), layer=36, texttype=10))
f3_sp6tarray_16x8.add(gdstk.Label('vss', (23.43,12.705), layer=36, texttype=10))
f3_sp6tarray_16x8.add(gdstk.Label('vss', (6.97,12.705), layer=36, texttype=10))
f3_sp6tarray_16x8.add(gdstk.Label('vss', (14.57,12.705), layer=36, texttype=10))
f3_sp6tarray_16x8.add(gdstk.Label('vss', (22.17,12.705), layer=36, texttype=10))
f3_sp6tarray_16x8.add(gdstk.Label('vss', (29.77,12.705), layer=36, texttype=10))
f3_sp6tarray_16x8.add(gdstk.Label('vss', (3.17,12.8), layer=36, texttype=10))
f3_sp6tarray_16x8.add(gdstk.Label('vss', (10.77,12.8), layer=36, texttype=10))
f3_sp6tarray_16x8.add(gdstk.Label('vss', (18.37,12.8), layer=36, texttype=10))
f3_sp6tarray_16x8.add(gdstk.Label('vss', (25.97,12.8), layer=36, texttype=10))
f3_sp6tarray_16x8.add(gdstk.Label('vss', (4.43,12.8), layer=36, texttype=10))
f3_sp6tarray_16x8.add(gdstk.Label('vss', (12.03,12.8), layer=36, texttype=10))
f3_sp6tarray_16x8.add(gdstk.Label('vss', (19.63,12.8), layer=36, texttype=10))
f3_sp6tarray_16x8.add(gdstk.Label('vss', (27.23,12.8), layer=36, texttype=10))
f3_sp6tarray_16x8.add(gdstk.Label('vdd', (1.9,12.705), layer=36, texttype=10))
f3_sp6tarray_16x8.add(gdstk.Label('vdd', (5.7,12.705), layer=36, texttype=10))
f3_sp6tarray_16x8.add(gdstk.Label('vdd', (9.5,12.705), layer=36, texttype=10))
f3_sp6tarray_16x8.add(gdstk.Label('vdd', (13.3,12.705), layer=36, texttype=10))
f3_sp6tarray_16x8.add(gdstk.Label('vdd', (17.1,12.705), layer=36, texttype=10))
f3_sp6tarray_16x8.add(gdstk.Label('vdd', (20.9,12.705), layer=36, texttype=10))
f3_sp6tarray_16x8.add(gdstk.Label('vdd', (24.7,12.705), layer=36, texttype=10))
f3_sp6tarray_16x8.add(gdstk.Label('vdd', (28.5,12.705), layer=36, texttype=10))
f3_sp6tarray_16x8.add(gdstk.Label('bl_n[4]', (17.73,12.8), layer=36, texttype=10))
f3_sp6tarray_16x8.add(gdstk.Label('bl[0]', (1.27,12.8), layer=36, texttype=10))
f3_sp6tarray_16x8.add(gdstk.Label('bl[5]', (21.53,12.8), layer=36, texttype=10))
f3_sp6tarray_16x8.add(gdstk.Label('bl_n[1]', (5.07,12.8), layer=36, texttype=10))
f3_sp6tarray_16x8.add(gdstk.Label('bl[2]', (8.87,12.8), layer=36, texttype=10))
f3_sp6tarray_16x8.add(gdstk.Label('bl_n[2]', (10.13,12.8), layer=36, texttype=10))
f3_sp6tarray_16x8.add(gdstk.Label('bl_n[0]', (2.53,12.8), layer=36, texttype=10))
f3_sp6tarray_16x8.add(gdstk.Label('bl[3]', (13.93,12.8), layer=36, texttype=10))
f3_sp6tarray_16x8.add(gdstk.Label('bl[1]', (6.33,12.8), layer=36, texttype=10))
f3_sp6tarray_16x8.add(gdstk.Label('bl[4]', (16.47,12.8), layer=36, texttype=10))
f3_sp6tarray_16x8.add(gdstk.Label('bl_n[3]', (12.67,12.8), layer=36, texttype=10))

lib.write_gds('F3_SP6TArray_16X8.gds')
